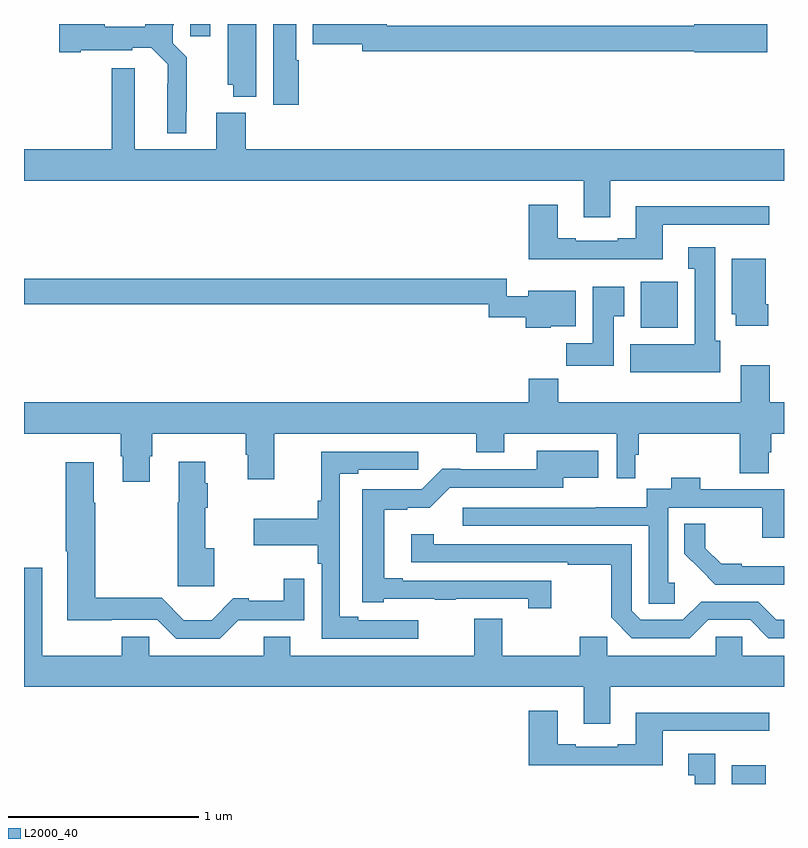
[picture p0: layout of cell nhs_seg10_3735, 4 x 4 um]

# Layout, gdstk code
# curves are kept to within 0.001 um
import gdstk
lib = gdstk.Library(unit=1e-6, precision=1e-09)
def R(c, l, rs):  # rectangles x0, y0, x1, y1
    for r in rs: c.add(gdstk.rectangle(r[:2], r[2:], *l))
def P(c, l, *ps):  # polygons
    for p in ps: c.add(gdstk.Polygon(p, *l))
L2000_40 = (2000, 40)

nhs_seg10_3735 = lib.new_cell('nhs_seg10_3735')
R(nhs_seg10_3735, L2000_40, [(318.725,1270.5,318.904,1270.6), (318.245,1272.902,318.442,1273.144), (315.875,1274.436,315.979,1274.5)])
P(nhs_seg10_3735, L2000_40, [(318.913,1274.498),(318.528,1274.498),(318.528,1274.492),(316.909,1274.492),(316.909,1274.5),(316.521,1274.5),(316.521,1274.393),(316.781,1274.393),(316.781,1274.356),(318.528,1274.356),(318.528,1274.351),(318.913,1274.351)],
  [(316.445,1274.309),(316.432,1274.309),(316.432,1274.5),(316.313,1274.5),(316.313,1274.076),(316.445,1274.076)],
  [(316.222,1274.5),(316.073,1274.5),(316.073,1274.181),(316.1,1274.181),(316.1,1274.117),(316.222,1274.117)],
  [(315.853,1274.035),(315.857,1274.035),(315.857,1274.326),(315.783,1274.4),(315.783,1274.494),(315.787,1274.494),(315.787,1274.5),(315.638,1274.5),(315.638,1274.485),(315.426,1274.485),(315.426,1274.498),(315.186,1274.498),(315.186,1274.351),(315.298,1274.351),(315.298,1274.363),(315.57,1274.363),(315.57,1274.375),(315.669,1274.375),(315.756,1274.288),(315.755,1273.925),(315.853,1273.925)],
  [(318.085,1273.676),(319,1273.676),(319,1273.84),(316.166,1273.84),(316.166,1274.032),(316.013,1274.032),(316.013,1273.84),(315.583,1273.84),(315.583,1274.266),(315.461,1274.266),(315.461,1273.84),(315,1273.84),(315,1273.676),(317.945,1273.676),(317.945,1273.482),(318.085,1273.482)],
  [(318.361,1273.443),(318.922,1273.443),(318.922,1273.54),(318.221,1273.54),(318.221,1273.372),(318.125,1273.372),(318.125,1273.359),(317.905,1273.359),(317.905,1273.372),(317.809,1273.372),(317.809,1273.549),(317.657,1273.549),(317.657,1273.262),(318.361,1273.262)],
  [(318.664,1272.834),(318.637,1272.834),(318.637,1273.324),(318.497,1273.324),(318.497,1273.211),(318.53,1273.211),(318.53,1272.814),(318.191,1272.814),(318.191,1272.668),(318.664,1272.668)],
  [(318.917,1273.024),(318.904,1273.024),(318.904,1273.264),(318.725,1273.264),(318.725,1272.972),(318.746,1272.972),(318.746,1272.912),(318.917,1272.912)],
  [(317.772,1272.908),(317.905,1272.908),(317.905,1273.096),(317.654,1273.096),(317.654,1273.067),(317.541,1273.067),(317.541,1273.16),(315,1273.16),(315,1273.024),(317.445,1273.024),(317.445,1272.957),(317.642,1272.957),(317.642,1272.902),(317.772,1272.902)],
  [(318.103,1272.961),(318.16,1272.961),(318.16,1273.117),(317.993,1273.117),(317.993,1272.82),(317.854,1272.82),(317.854,1272.702),(318.103,1272.702)],
  [(315.661,1272.225),(315.674,1272.225),(315.674,1272.344),(316.166,1272.344),(316.166,1272.233),(316.178,1272.233),(316.178,1272.105),(316.318,1272.105),(316.318,1272.344),(317.38,1272.344),(317.38,1272.245),(317.527,1272.245),(317.527,1272.344),(318.12,1272.344),(318.12,1272.108),(318.217,1272.108),(318.217,1272.234),(318.236,1272.234),(318.236,1272.344),(318.767,1272.344),(318.767,1272.136),(318.919,1272.136),(318.919,1272.246),(318.932,1272.246),(318.932,1272.344),(319,1272.344),(319,1272.508),(318.926,1272.508),(318.926,1272.703),(318.773,1272.703),(318.773,1272.508),(317.813,1272.508),(317.813,1272.632),(317.657,1272.632),(317.657,1272.508),(315,1272.508),(315,1272.344),(315.509,1272.344),(315.509,1272.225),(315.521,1272.225),(315.521,1272.09),(315.661,1272.09)],
  [(317.776,1271.571),(316.993,1271.571),(316.993,1271.584),(316.897,1271.584),(316.897,1271.943),(317.016,1271.943),(317.016,1271.954),(317.135,1271.954),(317.241,1272.06),(317.839,1272.06),(317.839,1272.113),(318.022,1272.113),(318.022,1272.253),(317.699,1272.253),(317.699,1272.156),(317.296,1272.156),(317.296,1272.158),(317.201,1272.158),(317.094,1272.051),(316.781,1272.051),(316.781,1271.457),(316.893,1271.457),(316.893,1271.475),(317.161,1271.475),(317.161,1271.47),(317.273,1271.47),(317.273,1271.475),(317.655,1271.475),(317.655,1271.424),(317.776,1271.424)],
  [(317.074,1271.361),(316.759,1271.361),(316.759,1271.379),(316.662,1271.379),(316.662,1272.133),(316.759,1272.133),(316.759,1272.153),(317.074,1272.153),(317.074,1272.249),(316.564,1272.249),(316.564,1271.992),(316.546,1271.992),(316.546,1271.896),(316.209,1271.896),(316.209,1271.756),(316.546,1271.756),(316.546,1271.66),(316.566,1271.66),(316.566,1271.265),(317.074,1271.265)],
  [(316,1271.741),(315.955,1271.741),(315.955,1271.954),(315.968,1271.954),(315.968,1272.083),(315.955,1272.083),(315.955,1272.196),(315.815,1272.196),(315.815,1271.983),(315.808,1271.983),(315.808,1271.54),(316,1271.54)],
  [(316.127,1271.363),(316.476,1271.363),(316.476,1271.581),(316.368,1271.581),(316.368,1271.465),(316.183,1271.465),(316.183,1271.477),(316.102,1271.477),(315.987,1271.362),(315.842,1271.362),(315.724,1271.48),(315.375,1271.48),(315.375,1271.98),(315.367,1271.98),(315.367,1272.193),(315.22,1272.193),(315.22,1271.725),(315.227,1271.725),(315.227,1271.363),(315.702,1271.364),(315.801,1271.265),(316.029,1271.265)],
  [(318.426,1271.56),(318.391,1271.56),(318.391,1271.955),(318.643,1271.955),(318.643,1271.954),(318.886,1271.954),(318.886,1271.796),(319,1271.796),(319,1272.051),(318.56,1272.051),(318.56,1272.112),(318.407,1272.112),(318.407,1272.055),(318.278,1272.055),(318.278,1271.956),(318.009,1271.956),(318.009,1271.955),(317.31,1271.955),(317.31,1271.859),(318.287,1271.859),(318.287,1271.557),(318.288,1271.557),(318.288,1271.449),(318.426,1271.449)],
  [(319,1271.647),(318.778,1271.647),(318.778,1271.658),(318.669,1271.658),(318.586,1271.741),(318.586,1271.87),(318.476,1271.87),(318.476,1271.713),(318.56,1271.63),(318.559,1271.629),(318.638,1271.55),(319,1271.55)],
  [(318.6,1271.364),(318.822,1271.364),(318.918,1271.268),(319,1271.268),(319,1271.365),(318.959,1271.365),(318.864,1271.46),(318.564,1271.46),(318.468,1271.364),(318.246,1271.364),(318.198,1271.412),(318.198,1271.763),(317.157,1271.763),(317.157,1271.815),(317.037,1271.815),(317.037,1271.667),(317.863,1271.667),(317.863,1271.655),(318.09,1271.655),(318.09,1271.377),(318.198,1271.268),(318.504,1271.268)],
  [(316.262,1271.275),(316.262,1271.176),(315.66,1271.176),(315.66,1271.274),(315.514,1271.274),(315.514,1271.176),(315.097,1271.176),(315.097,1271.638),(315,1271.638),(315,1271.012),(317.945,1271.012),(317.945,1270.818),(318.085,1270.818),(318.085,1271.012),(319,1271.012),(319,1271.176),(318.78,1271.176),(318.78,1271.274),(318.642,1271.274),(318.642,1271.176),(318.071,1271.176),(318.071,1271.274),(317.926,1271.274),(317.926,1271.176),(317.517,1271.176),(317.517,1271.371),(317.369,1271.371),(317.369,1271.176),(316.402,1271.176),(316.402,1271.275)],
  [(318.361,1270.779),(318.922,1270.779),(318.922,1270.876),(318.221,1270.876),(318.221,1270.708),(318.125,1270.708),(318.125,1270.695),(317.905,1270.695),(317.905,1270.708),(317.809,1270.708),(317.809,1270.885),(317.657,1270.885),(317.657,1270.598),(318.361,1270.598)],
  [(318.637,1270.66),(318.497,1270.66),(318.497,1270.547),(318.53,1270.547),(318.53,1270.5),(318.637,1270.5)])

lib.write_gds('nhs_seg10_3735.gds')
